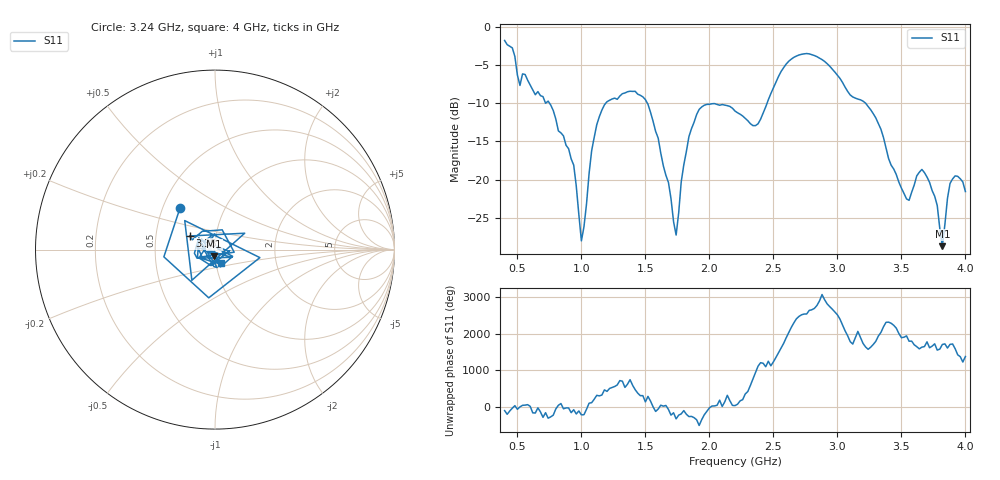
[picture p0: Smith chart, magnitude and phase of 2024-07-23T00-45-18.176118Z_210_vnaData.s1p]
!Created with skrf (http://scikit-rf.org).
# Hz S RI R 50.0
!freq ReS11 ImS11
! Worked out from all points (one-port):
!   181 points, 400 MHz to 4 GHz, reference 50 ohm
!   lowest |S11| = -28.8 dB at 3.82 GHz (marker M1), VSWR 1.08, Z = 49.5 - j3.59 ohm
!   |S11| at or under -10 dB: 752 MHz to 1.189 GHz (436.9 MHz wide, 45 % of centre); 1.516 GHz to 2.45 GHz (933.4 MHz wide, 47.1 % of centre); 3.222 GHz to end of sweep
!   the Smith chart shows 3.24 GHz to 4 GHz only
!   S11 on the Smith chart (normalised r, x): 3.24 GHz: 0.61, +0.31; 3.38 GHz: 0.74, +0.12; 4 GHz: 1.05, -0.16
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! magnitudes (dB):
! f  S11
! 400 MHz  -1.7
! 460 MHz  -2.7
! 520 MHz  -7.6
! 740 MHz  -9.7
! 860 MHz  -14.3
! 940 MHz  -18.1
! 1 GHz  -28.1
! 1.12 GHz  -12.8
! 1.3 GHz  -9.0
! 1.52 GHz  -10.1
! 1.68 GHz  -20.4
! 1.74 GHz  -27.3
! 1.76 GHz  -24.4
! 1.84 GHz  -14.4
! 1.92 GHz  -10.8
! 2.2 GHz  -11.0
! 2.38 GHz  -12.7
! 2.66 GHz  -3.9
! 2.88 GHz  -4.2
! 3.1 GHz  -8.9
! 3.24 GHz  -10.4
! 3.38 GHz  -15.9
! 3.56 GHz  -22.7
! 3.68 GHz  -19.1
! 3.78 GHz  -23.4
! 3.82 GHz  -28.8
! 3.88 GHz  -20.5
! 4 GHz  -21.6
